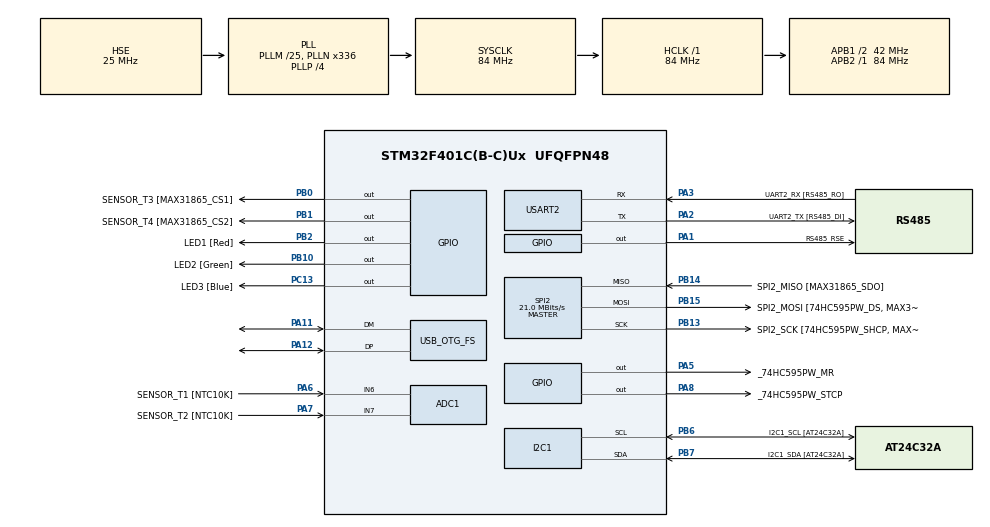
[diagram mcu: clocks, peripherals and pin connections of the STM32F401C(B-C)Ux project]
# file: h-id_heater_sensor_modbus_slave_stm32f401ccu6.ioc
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ADC1.Channel-0\#ChannelRegularConversion=ADC_CHANNEL_VREFINT
ADC1.Channel-5\#ChannelRegularConversion=ADC_CHANNEL_TEMPSENSOR
ADC1.Channel-6\#ChannelRegularConversion=ADC_CHANNEL_6
ADC1.Channel-7\#ChannelRegularConversion=ADC_CHANNEL_7
ADC1.ContinuousConvMode=ENABLE
ADC1.DMAContinuousRequests=ENABLE
ADC1.EOCSelection=ADC_EOC_SEQ_CONV
ADC1.InjNumberOfConversion=0
ADC1.NbrOfConversion=4
ADC1.NbrOfConversionFlag=1
ADC1.Rank-0\#ChannelRegularConversion=1
ADC1.Rank-5\#ChannelRegularConversion=2
ADC1.Rank-6\#ChannelRegularConversion=3
ADC1.Rank-7\#ChannelRegularConversion=4
ADC1.SamplingTime-0\#ChannelRegularConversion=ADC_SAMPLETIME_480CYCLES
ADC1.SamplingTime-5\#ChannelRegularConversion=ADC_SAMPLETIME_480CYCLES
ADC1.SamplingTime-6\#ChannelRegularConversion=ADC_SAMPLETIME_480CYCLES
ADC1.SamplingTime-7\#ChannelRegularConversion=ADC_SAMPLETIME_480CYCLES
ADC1.ScanConvMode=ENABLE
ADC1.master=1
Dma.ADC1.0.Direction=DMA_PERIPH_TO_MEMORY
Dma.ADC1.0.FIFOMode=DMA_FIFOMODE_ENABLE
Dma.ADC1.0.FIFOThreshold=DMA_FIFO_THRESHOLD_FULL
Dma.ADC1.0.Instance=DMA2_Stream0
Dma.ADC1.0.MemBurst=DMA_MBURST_SINGLE
Dma.ADC1.0.MemDataAlignment=DMA_MDATAALIGN_HALFWORD
Dma.ADC1.0.MemInc=DMA_MINC_ENABLE
Dma.ADC1.0.Mode=DMA_CIRCULAR
Dma.ADC1.0.PeriphBurst=DMA_PBURST_SINGLE
Dma.ADC1.0.PeriphDataAlignment=DMA_PDATAALIGN_HALFWORD
Dma.ADC1.0.PeriphInc=DMA_PINC_DISABLE
Dma.ADC1.0.Priority=DMA_PRIORITY_LOW
Dma.Request0=ADC1
Dma.Request1=USART2_RX
Dma.Request2=USART2_TX
Dma.USART2_RX.1.Direction=DMA_PERIPH_TO_MEMORY
Dma.USART2_RX.1.FIFOMode=DMA_FIFOMODE_DISABLE
Dma.USART2_RX.1.Instance=DMA1_Stream5
Dma.USART2_RX.1.MemDataAlignment=DMA_MDATAALIGN_BYTE
Dma.USART2_RX.1.MemInc=DMA_MINC_ENABLE
Dma.USART2_RX.1.Mode=DMA_NORMAL
Dma.USART2_RX.1.PeriphDataAlignment=DMA_PDATAALIGN_BYTE
Dma.USART2_RX.1.PeriphInc=DMA_PINC_DISABLE
Dma.USART2_RX.1.Priority=DMA_PRIORITY_LOW
Dma.USART2_TX.2.Direction=DMA_MEMORY_TO_PERIPH
Dma.USART2_TX.2.FIFOMode=DMA_FIFOMODE_DISABLE
Dma.USART2_TX.2.Instance=DMA1_Stream6
Dma.USART2_TX.2.MemDataAlignment=DMA_MDATAALIGN_BYTE
Dma.USART2_TX.2.MemInc=DMA_MINC_ENABLE
Dma.USART2_TX.2.Mode=DMA_NORMAL
Dma.USART2_TX.2.PeriphDataAlignment=DMA_PDATAALIGN_BYTE
Dma.USART2_TX.2.PeriphInc=DMA_PINC_DISABLE
Dma.USART2_TX.2.Priority=DMA_PRIORITY_LOW
FREERTOS.Tasks01=defaultTask,24,512,StartDefaultTask,Default,NULL,Dynamic,NULL,NULL;myTaskUSB,8,128,StartTaskUSB,Default,NULL,Dynamic,NULL,NULL;myTaskRS485,8,128,StartTaskRS485,Default,NULL,Dynamic,NULL,NULL
FREERTOS.configENABLE_FPU=1
FREERTOS.configTOTAL_HEAP_SIZE=65535
FREERTOS.configUSE_NEWLIB_REENTRANT=1
FREERTOS.copyHeapFile=0
Mcu.Family=STM32F4
Mcu.Name=STM32F401C(B-C)Ux
Mcu.Package=UFQFPN48
NVIC.ADC_IRQn=true\:5\:0\:false\:false\:true\:true\:true\:true\:true
NVIC.DMA1_Stream5_IRQn=true\:5\:0\:false\:false\:true\:true\:false\:true\:true
NVIC.DMA1_Stream6_IRQn=true\:5\:0\:false\:false\:true\:true\:false\:true\:true
NVIC.DMA2_Stream0_IRQn=true\:5\:0\:false\:false\:true\:true\:false\:true\:true
NVIC.OTG_FS_IRQn=true\:5\:0\:false\:false\:true\:true\:false\:true\:true
NVIC.PriorityGroup=NVIC_PRIORITYGROUP_4
NVIC.TIM1_UP_TIM10_IRQn=true\:15\:0\:false\:false\:true\:false\:false\:true\:true
NVIC.TimeBase=TIM1_UP_TIM10_IRQn
NVIC.TimeBaseIP=TIM1
NVIC.USART2_IRQn=true\:5\:0\:false\:false\:true\:true\:true\:true\:true
PA1.GPIO_Label=RS485_RSE
PA1.GPIO_Speed=GPIO_SPEED_FREQ_HIGH
PA1.Signal=GPIO_Output
PA11.Mode=Device_Only
PA11.Signal=USB_OTG_FS_DM
PA12.Mode=Device_Only
PA12.Signal=USB_OTG_FS_DP
PA13.GPIO_Label=SWDIO
PA13.Mode=Serial_Wire
PA13.Signal=SYS_JTMS-SWDIO
PA14.GPIO_Label=SWCLK
PA14.Mode=Serial_Wire
PA14.Signal=SYS_JTCK-SWCLK
PA2.GPIO_Label=UART2_TX [RS485_DI]
PA2.Mode=Asynchronous
PA2.Signal=USART2_TX
PA3.GPIO_Label=UART2_RX [RS485_RO]
PA3.Mode=Asynchronous
PA3.Signal=USART2_RX
PA5.GPIO_Label=_74HC595PW_MR
PA5.GPIO_Speed=GPIO_SPEED_FREQ_LOW
PA5.PinState=GPIO_PIN_SET
PA5.Signal=GPIO_Output
PA6.GPIO_Label=SENSOR_T1 [NTC10K]
PA6.Signal=ADCx_IN6
PA7.GPIO_Label=SENSOR_T2 [NTC10K]
PA7.Signal=ADCx_IN7
PA8.GPIO_Label=_74HC595PW_STCP
PA8.GPIO_Speed=GPIO_SPEED_FREQ_HIGH
PA8.Signal=GPIO_Output
PB0.GPIO_Label=SENSOR_T3 [MAX31865_CS1]
PB0.GPIO_Speed=GPIO_SPEED_FREQ_HIGH
PB0.Signal=GPIO_Output
PB1.GPIO_Label=SENSOR_T4 [MAX31865_CS2]
PB1.GPIO_Speed=GPIO_SPEED_FREQ_HIGH
PB1.Signal=GPIO_Output
PB10.GPIO_Label=LED2 [Green]
PB10.Signal=GPIO_Output
PB13.GPIO_Label=SPI2_SCK [74HC595PW_SHCP, MAX31865_SCLK]
PB13.Mode=Full_Duplex_Master
PB13.Signal=SPI2_SCK
PB14.GPIO_Label=SPI2_MISO [MAX31865_SDO]
PB14.Mode=Full_Duplex_Master
PB14.Signal=SPI2_MISO
PB15.GPIO_Label=SPI2_MOSI [74HC595PW_DS, MAX31865_SDI]
PB15.Mode=Full_Duplex_Master
PB15.Signal=SPI2_MOSI
PB2.GPIO_Label=LED1 [Red]
PB2.Signal=GPIO_Output
PB6.GPIO_Label=I2C1_SCL [AT24C32A]
PB6.GPIO_Pu=GPIO_PULLUP
PB6.Mode=I2C
PB6.Signal=I2C1_SCL
PB7.GPIO_Label=I2C1_SDA [AT24C32A]
PB7.GPIO_Pu=GPIO_PULLUP
PB7.Mode=I2C
PB7.Signal=I2C1_SDA
PC13-ANTI_TAMP.GPIO_Label=LED3 [Blue]
PC13-ANTI_TAMP.Signal=GPIO_Output
PC14-OSC32_IN.Mode=LSE-External-Oscillator
PC14-OSC32_IN.Signal=RCC_OSC32_IN
PC15-OSC32_OUT.Mode=LSE-External-Oscillator
PC15-OSC32_OUT.Signal=RCC_OSC32_OUT
PH0\ -\ OSC_IN.Mode=HSE-External-Oscillator
PH0\ -\ OSC_IN.Signal=RCC_OSC_IN
PH1\ -\ OSC_OUT.Mode=HSE-External-Oscillator
PH1\ -\ OSC_OUT.Signal=RCC_OSC_OUT
ProjectManager.HeapSize=0x300
ProjectManager.StackSize=0x500
ProjectManager.TargetToolchain=SW4STM32
RCC.48MHZClocksFreq_Value=48000000
RCC.AHBFreq_Value=84000000
RCC.APB1CLKDivider=RCC_HCLK_DIV2
RCC.APB1Freq_Value=42000000
RCC.APB1TimFreq_Value=84000000
RCC.APB2Freq_Value=84000000
RCC.APB2TimFreq_Value=84000000
RCC.CortexFreq_Value=84000000
RCC.HCLKFreq_Value=84000000
RCC.HSE_VALUE=25000000
RCC.HSI_VALUE=16000000
RCC.PLLM=25
RCC.PLLN=336
RCC.PLLP=RCC_PLLP_DIV4
RCC.PLLQ=7
RCC.RCC_RTC_Clock_Source=RCC_RTCCLKSOURCE_LSE
RCC.RCC_RTC_Clock_SourceVirtual=RCC_RTCCLKSOURCE_LSE
RCC.SYSCLKFreq_VALUE=84000000
RCC.SYSCLKSource=RCC_SYSCLKSOURCE_PLLCLK
RCC.VCOOutputFreq_Value=336000000
SH.ADCx_IN6.0=ADC1_IN6,IN6
SH.ADCx_IN7.0=ADC1_IN7,IN7
SPI2.BaudRatePrescaler=SPI_BAUDRATEPRESCALER_2
SPI2.CalculateBaudRate=21.0 MBits/s
SPI2.Direction=SPI_DIRECTION_2LINES
SPI2.Mode=SPI_MODE_MASTER
SPI2.VirtualType=VM_MASTER
USART2.VirtualMode=VM_ASYNC
USB_DEVICE.APP_RX_DATA_SIZE=256
USB_DEVICE.APP_TX_DATA_SIZE=256
USB_DEVICE.CLASS_NAME_FS=CDC
USB_DEVICE.VirtualMode=Cdc
USB_DEVICE.VirtualModeFS=Cdc_FS
USB_OTG_FS.VirtualMode=Device_Only
VP_ADC1_TempSens_Input.Mode=IN-TempSens
VP_ADC1_Vref_Input.Mode=IN-Vrefint
VP_FREERTOS_VS_CMSIS_V2.Mode=CMSIS_V2
VP_RTC_VS_RTC_Activate.Mode=RTC_Enabled
VP_SYS_VS_tim1.Mode=TIM1
VP_USB_DEVICE_VS_USB_DEVICE_CDC_FS.Mode=CDC_FS
board=custom

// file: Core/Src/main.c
/* USER CODE BEGIN Header */
/**
  ******************************************************************************
  * @file           : main.c
  * @brief          : Main program body
  ******************************************************************************
  * @attention
  *
  * Copyright (c) 2022 STMicroelectronics.
  * All rights reserved.
  *
  * This software is licensed under terms that can be found in the LICENSE file
  * in the root directory of this software component.
  * If no LICENSE file comes with this software, it is provided AS-IS.
  *
  ******************************************************************************
  */
/* USER CODE END Header */
#include "main.h"
#include "cmsis_os.h"
#include "usb_device.h"

/* USER CODE BEGIN Includes */
#include "semphr.h"
#include "Modbus.h"
#include <math.h>
#include <string.h>
#include <stdlib.h>
#include <stdint.h>
#include "heater_modbus.h"
#include <AT24Cxx/AT24Cxx_stm32_hal.h>
#include <max31865/MAX31865.h>

/* USER CODE END Includes */

/* USER CODE BEGIN PTD */

#define HID_INTERNAL_SENSOR_TBL(R,X)\
	/*    NAME    TYPE             N   I   TITLE              			*/ \
	R(X	, vref	, voltage 		,  0 , 1 , "Опорное напряжение"			)\
	R(X	, vbat	, voltage 		,  1 , 1 , "Напряжение батареи часов"	)\
	R(X	, tcpu	, temperature 	,  0 , 1 , "Температура CPU"			)\
	R(X	, t1 	, temperature 	,  1 , 0 , "Датчик 1"					)\
	R(X	, t2	, temperature 	,  2 , 0 , "Датчик 2"					)\
	R(X	, t3	, temperature 	,  3 , 0 , "Датчик 3"					)\
	R(X	, t4	, temperature 	,  4 , 0 , "Датчик 4"					)\

#define HID_HEATER_DECL_INTERNAL_SENSOR_ID_ENUM(PREFIX, NAME, TYPE, NUMBER, INVISIBLE, TITLE)\
    PREFIX##NAME,

#define HID_HEATER_DECL_INTERNAL_SENSOR_ID_DESC(PREFIX, NAME, TYPE, NUMBER, INVISIBLE, TITLE)\
{ \
	.number = NUMBER, \
	.invisible = INVISIBLE, \
	.sensor_type = sensor_type_##TYPE \
},

#define HID_HEATER_DECL_SENSOR_TYPE_DESC(PREFIX, INIT, SYMBOL, NAME, TITLE, DIMENSION)\
{ \
	.type = sensor_type_##NAME, \
	.symbol = #SYMBOL, \
	.name = #NAME, \
	.title = TITLE "", \
	.dimension = DIMENSION "" \
},

#define MY_MIN(A,B) ((A) < (B)? (A) : (B))
#define MY_MAX(A,B) ((A) > (B)? (A) : (B))
#define MY_CLAMP(Vmin,V,Vmax) (MY_MAX((Vmin), MY_MIN((V),(Vmax))))

enum InternalSensorID
{
	HID_INTERNAL_SENSOR_TBL(HID_HEATER_DECL_INTERNAL_SENSOR_ID_ENUM, isid_)
	max_num_of_internal_sensors,
	length_of_ctl_reg_internal_sensors = (max_num_of_internal_sensors + 15)/16
};

enum InternalRelayID
{
	max_num_of_internal_relays = 8,
	length_of_ctl_reg_internal_relays = (max_num_of_internal_relays + 15)/16
};

enum HeaterSystemConfigConstatnts
{
	hscc_short_io_addr = 16,
	hscc_short_io_version = 1,
	hscc_short_io_length = 9,
	hscc_long_io_version = 1,
	hscc_long_io_length = 2 + MAX_BUFFER/2,
	hscc_software_type = hsst_sensor_temperature,
	hscc_config_marker = 0xEBADF00Dul,
	hscc_config_version = 1ul
};

/// Структура заголовка паняти конфигурации устройства, хранящаяся в EEPROM
typedef struct ConfigMemoryHeader
{
	uint32_t marker;
	uint16_t version;
	uint16_t length;
	uint8_t software_type;
	uint8_t rs485_id;
	uint16_t header_crc;
} ConfigMemory;

enum HeaterSystemEepromMemory
{
	hsem_reserved_0 = 0,			// u8[32]
	hsem_config_marker = 32, 		// u32
	hsem_config_version = 36, 		// u16
	hsem_config_length = 38, 		// u16
	hsem_config_software_type = 40, // u8
	hsem_config_rs485_id = 41,		// u8
	hsem_config_header_crc = 42,	// u16
	hsem_device_memory = 44 		// u8[ sizeof(DeviceMemoryModbus) ]
};

enum HeaterSystemErrorEnum
{
	hsee_ok,
	hsee_eeprom_load_config_error_bad_marker,
	hsee_eeprom_load_config_error_bad_software_type,
	hsee_eeprom_load_config_error_bad_version,
	hsee_eeprom_load_config_error_bad_length,
	hsee_eeprom_load_config_error_bad_header_crc,
};

/// Память доступная для внешнего управления устройством
typedef struct DeviceMemoryModbus
{
	/// Регистры состояния внутренних реле
	uint16_t reserved_relay_out[16];

	/// Начало порта обмена короткими сообщениями
	/// (смещение строго = 16 для любого устройства)
	uint16_t short_response;
	uint16_t short_request;
	uint16_t short_data[hscc_short_io_length];

	/// Наличие данных от внутренних датчиков
	uint16_t int_sens_status[length_of_ctl_reg_internal_sensors];

	/// Данные внутренних датчиков
	uint16_t int_sens_value[max_num_of_internal_sensors];

	/// Регистр управления устройством
	DeviceControlRegister_SensorTemperature dev_ctl;

	/// Начало порта обмена длинными сообщениями
	uint16_t long_response;
	uint16_t long_request;
	uint16_t long_data[hscc_long_io_length];

} DeviceMemoryModbus;

enum Constants
{
	DeviceMemoryModbusSize = sizeof(DeviceMemoryModbus),
	DeviceMemoryModbusLength = DeviceMemoryModbusSize/2,
};

/* USER CODE END PTD */

/* USER CODE BEGIN PD */
#define TEMP_REFRESH_PERIOD   1000    /* Internal temperature refresh period */
#define MAX_CONVERTED_VALUE   4095    /* Max converted value */
#define AMBIENT_TEMP            25    /* Ambient Temperature */
#define VSENS_AT_AMBIENT_TEMP  760    /* VSENSE value (mv) at ambient temperature */
#define AVG_SLOPE               25    /* Avg_Solpe multiply by 10 */
#define VREF                  3300
#define JULIAN_DATE_BASE     2440588   // Unix epoch time in Julian calendar (UnixTime = 00:00:00 01.01.1970 => JDN = 2440588)

enum ADC_Constants
{
	adc_num_channels = 4,
	adc_num_samples = 64
};

enum MAX31865_Constants
{
	max31865_num_channels = 2,
};

static const float s_pt1000_r0 = 1000.0f;
static const float s_pt1000_a = 3.9083e-3f;
static const float s_pt1000_b = -5.775e-7f;
//static const float s_pt1000_c = -4.183e-12f;

static const float s_termo_zero_c = -273.15f;
static const float s_ntc10k_a = 1.111e-3f;
static const float s_ntc10k_b = 237.987e-6f;
static const float s_ntc10k_c = 65.468e-9f;

/* USER CODE END PD */

 ADC_HandleTypeDef hadc1;
DMA_HandleTypeDef hdma_adc1;

I2C_HandleTypeDef hi2c1;

RTC_HandleTypeDef hrtc;

SPI_HandleTypeDef hspi2;

UART_HandleTypeDef huart2;
DMA_HandleTypeDef hdma_usart2_rx;
DMA_HandleTypeDef hdma_usart2_tx;

/* Definitions for defaultTask */
osThreadId_t defaultTaskHandle;
const osThreadAttr_t defaultTask_attributes = {
  .name = "defaultTask",
  .stack_size = 512 * 4,
  .priority = (osPriority_t) osPriorityNormal,
};
/* Definitions for myTaskUSB */
osThreadId_t myTaskUSBHandle;
const osThreadAttr_t myTaskUSB_attributes = {
  .name = "myTaskUSB",
  .stack_size = 128 * 4,
  .priority = (osPriority_t) osPriorityLow,
};
/* Definitions for myTaskRS485 */
osThreadId_t myTaskRS485Handle;
const osThreadAttr_t myTaskRS485_attributes = {
  .name = "myTaskRS485",
  .stack_size = 128 * 4,
  .priority = (osPriority_t) osPriorityLow,
};
/* USER CODE BEGIN PV */
volatile modbusHandler_t g_modbus_usb_cdc;
volatile modbusHandler_t g_modbus_rs485;
volatile DeviceMemoryModbus g_modbus_mem = { 0 };

volatile uint16_t g_adc_values[adc_num_channels] = { 0 };
volatile uint16_t g_adc_avg_values[adc_num_channels] = { 0 };
volatile uint16_t g_adc_sko_values[adc_num_channels] = { 0 };
volatile uint16_t g_adc_dma_buffer[adc_num_channels] = { 0 };
volatile uint16_t g_adc_samples[adc_num_samples][adc_num_channels] = { 0 };
volatile uint16_t g_adc_num_samples = 0;
volatile uint16_t g_adc_sample_pos = 0;
volatile uint8_t g_adc_update = 0;
AT24Cxx_devices_t g_eeprom;
ConfigMemory g_cfg = { 0 };
Max31865_t g_max31865[max31865_num_channels] = { 0 };

//static float g_r1[4] = {10660, 10000, 10380, 9715};
static const float g_r1[4] = {10660, 10000, 10660, 10000};

static const SensorTypeDesc s_sensor_type_desc[sensor_type_num_of_types] = {
	HID_HEATER_SENSOR_TYPE_TBL(HID_HEATER_DECL_SENSOR_TYPE_DESC, )
};

static const SensorDescription s_internal_sensors_desc[max_num_of_internal_sensors] = {
	HID_INTERNAL_SENSOR_TBL(HID_HEATER_DECL_INTERNAL_SENSOR_ID_DESC, isid_)
};

/* USER CODE END PV */

void SystemClock_Config(void);
static void MX_GPIO_Init(void);
static void MX_DMA_Init(void);
static void MX_ADC1_Init(void);
static void MX_I2C1_Init(void);
static void MX_SPI2_Init(void);
static void MX_USART2_UART_Init(void);
static void MX_RTC_Init(void);
void StartDefaultTask(void *argument);
void StartTaskUSB(void *argument);
void StartTaskRS485(void *argument);

/* USER CODE BEGIN PFP */
static float calc_temperature_ntc10k(float r);
static float calc_temperature_pt1000(float r);
static bool testU16Bit(volatile uint16_t* mem, uint16_t bit_idx);
static void setU16Bit(volatile uint16_t* mem, uint16_t bit_idx, bool value);
static void handle_short_request(void);
static void handle_long_request(void);
static void handle_requests(void);
static void write_u16_masked(uint16_t reg, uint16_t data, uint16_t mask);
static uint16_t eeprom_factory_defaults(void);
static uint16_t eeprom_load_config(void);
static uint16_t eeprom_save_config(void);
uint32_t RTC_ToEpoch(RTC_TimeTypeDef *time, RTC_DateTypeDef *date);
void RTC_FromEpoch(uint32_t epoch, RTC_TimeTypeDef *time, RTC_DateTypeDef *date);
void RTC_AdjustTimeZone(RTC_TimeTypeDef *time, RTC_DateTypeDef *date, int8_t offset);

/* USER CODE END PFP */

int main(void)
{

  /* MCU Configuration--------------------------------------------------------*/

  /* Reset of all peripherals, Initializes the Flash interface and the Systick. */
  HAL_Init();

  /* Configure the system clock */
  SystemClock_Config();

  /* Initialize all configured peripherals */
  MX_GPIO_Init();
  MX_DMA_Init();
  MX_ADC1_Init();
  MX_I2C1_Init();
  MX_SPI2_Init();
  MX_USART2_UART_Init();
  MX_RTC_Init();
  /* USER CODE BEGIN 2 */

  AT24Cxx_init(&g_eeprom, 0, &hi2c1); // AT24Cxx_SET_ADDR

  if( eeprom_load_config() )
	  eeprom_factory_defaults();

  Max31865_init(&g_max31865[0], &hspi2, SENSOR_T3_GPIO_Port, SENSOR_T3_Pin, 2, 0);
  Max31865_init(&g_max31865[1], &hspi2, SENSOR_T4_GPIO_Port, SENSOR_T4_Pin, 2, 0);

  HAL_ADC_Start_DMA(&hadc1, (uint32_t*)g_adc_dma_buffer, adc_num_channels);

  /* Modbus Slave initialization */
  g_modbus_usb_cdc.uModbusType = MB_SLAVE;
  //g_modbus_usb_cdc.uModbusType = MB_MASTER;
  //g_modbus_usb_cdc.xTypeHW = USART_HW_DMA;
  g_modbus_usb_cdc.xTypeHW = USB_CDC_HW; // // USB-CDC
  //g_modbus_usb_cdc.port = &huart1; // This is the UART port connected to STLINK
  g_modbus_usb_cdc.port = NULL; // USB-CDC
  g_modbus_usb_cdc.u8id = 1; //slave ID, always different than zero
  //g_modbus_usb_cdc.u8id = 0; //slave ID for master always 0
  g_modbus_usb_cdc.u16timeOut = 1000;
  g_modbus_usb_cdc.EN_Port = NULL; // No RS485
  //g_modbus_usb_cdc.EN_Port = LD2_GPIO_Port; // RS485 Enable
  //g_modbus_usb_cdc.EN_Pin = LD2_Pin; // RS485 Enable
  g_modbus_usb_cdc.u16regs = (uint16_t*) &g_modbus_mem;
  g_modbus_usb_cdc.u16regsize= sizeof(g_modbus_mem)/sizeof(uint16_t);
   //Initialize Modbus library
  ModbusInit((modbusHandler_t *)&g_modbus_usb_cdc);
  //Start capturing traffic on serial Port
  //ModbusStart((modbusHandler_t *)&g_modbus_usb_cdc);
  ModbusStartCDC((modbusHandler_t *)&g_modbus_usb_cdc);

  /* Modbus Slave initialization */
  g_modbus_rs485.uModbusType = MB_SLAVE;
  //g_modbus_rs485.uModbusType = MB_MASTER;
  g_modbus_rs485.xTypeHW = USART_HW_DMA;
  g_modbus_rs485.port = &huart2; // This is the UART port connected to RS485
  g_modbus_rs485.u8id = g_cfg.rs485_id; //slave ID, always different than zero
  //g_modbus_rs485.u8id = 0; //slave ID for master always 0
  g_modbus_rs485.u16timeOut = 1000;
  //g_modbus_rs485.EN_Port = NULL; // No RS485
  g_modbus_rs485.EN_Port = RS485_RSE_GPIO_Port; // RS485 Enable
  g_modbus_rs485.EN_Pin = RS485_RSE_Pin; // RS485 Enable
  g_modbus_rs485.u16regs = (uint16_t*) &g_modbus_mem;
  g_modbus_rs485.u16regsize= sizeof(g_modbus_mem)/sizeof(uint16_t);
   //Initialize Modbus library
  ModbusInit((modbusHandler_t*)&g_modbus_rs485);
  //Start capturing traffic on serial Port
  ModbusStart((modbusHandler_t*)&g_modbus_rs485);

  /* USER CODE END 2 */

  /* Init scheduler */
  osKernelInitialize();

  /* Create the thread(s) */
  /* creation of defaultTask */
  defaultTaskHandle = osThreadNew(StartDefaultTask, NULL, &defaultTask_attributes);

  /* creation of myTaskUSB */
  myTaskUSBHandle = osThreadNew(StartTaskUSB, NULL, &myTaskUSB_attributes);

  /* creation of myTaskRS485 */
  myTaskRS485Handle = osThreadNew(StartTaskRS485, NULL, &myTaskRS485_attributes);

  /* Start scheduler */
  osKernelStart();

  /* We should never get here as control is now taken by the scheduler */
  /* Infinite loop */
  while (1)
  {

  }
}

void SystemClock_Config(void)
{
  RCC_OscInitTypeDef RCC_OscInitStruct = {0};
  RCC_ClkInitTypeDef RCC_ClkInitStruct = {0};

  /** Configure the main internal regulator output voltage
  */
  __HAL_RCC_PWR_CLK_ENABLE();
  __HAL_PWR_VOLTAGESCALING_CONFIG(PWR_REGULATOR_VOLTAGE_SCALE2);

  /** Initializes the RCC Oscillators according to the specified parameters
  * in the RCC_OscInitTypeDef structure.
  */
  RCC_OscInitStruct.OscillatorType = RCC_OSCILLATORTYPE_HSE|RCC_OSCILLATORTYPE_LSE;
  RCC_OscInitStruct.HSEState = RCC_HSE_ON;
  RCC_OscInitStruct.LSEState = RCC_LSE_ON;
  RCC_OscInitStruct.PLL.PLLState = RCC_PLL_ON;
  RCC_OscInitStruct.PLL.PLLSource = RCC_PLLSOURCE_HSE;
  RCC_OscInitStruct.PLL.PLLM = 25;
  RCC_OscInitStruct.PLL.PLLN = 336;
  RCC_OscInitStruct.PLL.PLLP = RCC_PLLP_DIV4;
  RCC_OscInitStruct.PLL.PLLQ = 7;
  if (HAL_RCC_OscConfig(&RCC_OscInitStruct) != HAL_OK)
  {
    Error_Handler();
  }

  /** Initializes the CPU, AHB and APB buses clocks
  */
  RCC_ClkInitStruct.ClockType = RCC_CLOCKTYPE_HCLK|RCC_CLOCKTYPE_SYSCLK
                              |RCC_CLOCKTYPE_PCLK1|RCC_CLOCKTYPE_PCLK2;
  RCC_ClkInitStruct.SYSCLKSource = RCC_SYSCLKSOURCE_PLLCLK;
  RCC_ClkInitStruct.AHBCLKDivider = RCC_SYSCLK_DIV1;
  RCC_ClkInitStruct.APB1CLKDivider = RCC_HCLK_DIV2;
  RCC_ClkInitStruct.APB2CLKDivider = RCC_HCLK_DIV1;

  if (HAL_RCC_ClockConfig(&RCC_ClkInitStruct, FLASH_LATENCY_2) != HAL_OK)
  {
    Error_Handler();
  }
}

static void MX_ADC1_Init(void)
{

  ADC_ChannelConfTypeDef sConfig = {0};

  /** Configure the global features of the ADC (Clock, Resolution, Data Alignment and number of conversion)
  */
  hadc1.Instance = ADC1;
  hadc1.Init.ClockPrescaler = ADC_CLOCK_SYNC_PCLK_DIV4;
  hadc1.Init.Resolution = ADC_RESOLUTION_12B;
  hadc1.Init.ScanConvMode = ENABLE;
  hadc1.Init.ContinuousConvMode = ENABLE;
  hadc1.Init.DiscontinuousConvMode = DISABLE;
  hadc1.Init.ExternalTrigConvEdge = ADC_EXTERNALTRIGCONVEDGE_NONE;
  hadc1.Init.ExternalTrigConv = ADC_SOFTWARE_START;
  hadc1.Init.DataAlign = ADC_DATAALIGN_RIGHT;
  hadc1.Init.NbrOfConversion = 4;
  hadc1.Init.DMAContinuousRequests = ENABLE;
  hadc1.Init.EOCSelection = ADC_EOC_SEQ_CONV;
  if (HAL_ADC_Init(&hadc1) != HAL_OK)
  {
    Error_Handler();
  }

  /** Configure for the selected ADC regular channel its corresponding rank in the sequencer and its sample time.
  */
  sConfig.Channel = ADC_CHANNEL_VREFINT;
  sConfig.Rank = 1;
  sConfig.SamplingTime = ADC_SAMPLETIME_480CYCLES;
  if (HAL_ADC_ConfigChannel(&hadc1, &sConfig) != HAL_OK)
  {
    Error_Handler();
  }

  /** Configure for the selected ADC regular channel its corresponding rank in the sequencer and its sample time.
  */
  sConfig.Channel = ADC_CHANNEL_TEMPSENSOR;
  sConfig.Rank = 2;
  if (HAL_ADC_ConfigChannel(&hadc1, &sConfig) != HAL_OK)
  {
    Error_Handler();
  }

  /** Configure for the selected ADC regular channel its corresponding rank in the sequencer and its sample time.
  */
  sConfig.Channel = ADC_CHANNEL_6;
  sConfig.Rank = 3;
  if (HAL_ADC_ConfigChannel(&hadc1, &sConfig) != HAL_OK)
  {
    Error_Handler();
  }

  /** Configure for the selected ADC regular channel its corresponding rank in the sequencer and its sample time.
  */
  sConfig.Channel = ADC_CHANNEL_7;
  sConfig.Rank = 4;
  if (HAL_ADC_ConfigChannel(&hadc1, &sConfig) != HAL_OK)
  {
    Error_Handler();
  }

}

static void MX_I2C1_Init(void)
{

  hi2c1.Instance = I2C1;
  hi2c1.Init.ClockSpeed = 100000;
  hi2c1.Init.DutyCycle = I2C_DUTYCYCLE_2;
  hi2c1.Init.OwnAddress1 = 0;
  hi2c1.Init.AddressingMode = I2C_ADDRESSINGMODE_7BIT;
  hi2c1.Init.DualAddressMode = I2C_DUALADDRESS_DISABLE;
  hi2c1.Init.OwnAddress2 = 0;
  hi2c1.Init.GeneralCallMode = I2C_GENERALCALL_DISABLE;
  hi2c1.Init.NoStretchMode = I2C_NOSTRETCH_DISABLE;
  if (HAL_I2C_Init(&hi2c1) != HAL_OK)
  {
    Error_Handler();
  }

}

static void MX_RTC_Init(void)
{

  /** Initialize RTC Only
  */
  hrtc.Instance = RTC;
  hrtc.Init.HourFormat = RTC_HOURFORMAT_24;
  hrtc.Init.AsynchPrediv = 127;
  hrtc.Init.SynchPrediv = 255;
  hrtc.Init.OutPut = RTC_OUTPUT_DISABLE;
  hrtc.Init.OutPutPolarity = RTC_OUTPUT_POLARITY_HIGH;
  hrtc.Init.OutPutType = RTC_OUTPUT_TYPE_OPENDRAIN;
  if (HAL_RTC_Init(&hrtc) != HAL_OK)
  {
    Error_Handler();
  }

}

static void MX_SPI2_Init(void)
{

  /* SPI2 parameter configuration*/
  hspi2.Instance = SPI2;
  hspi2.Init.Mode = SPI_MODE_MASTER;
  hspi2.Init.Direction = SPI_DIRECTION_2LINES;
  hspi2.Init.DataSize = SPI_DATASIZE_8BIT;
  hspi2.Init.CLKPolarity = SPI_POLARITY_LOW;
  hspi2.Init.CLKPhase = SPI_PHASE_1EDGE;
  hspi2.Init.NSS = SPI_NSS_SOFT;
  hspi2.Init.BaudRatePrescaler = SPI_BAUDRATEPRESCALER_2;
  hspi2.Init.FirstBit = SPI_FIRSTBIT_MSB;
  hspi2.Init.TIMode = SPI_TIMODE_DISABLE;
  hspi2.Init.CRCCalculation = SPI_CRCCALCULATION_DISABLE;
  hspi2.Init.CRCPolynomial = 10;
  if (HAL_SPI_Init(&hspi2) != HAL_OK)
  {
    Error_Handler();
  }

}

static void MX_USART2_UART_Init(void)
{

  huart2.Instance = USART2;
  huart2.Init.BaudRate = 115200;
  huart2.Init.WordLength = UART_WORDLENGTH_8B;
  huart2.Init.StopBits = UART_STOPBITS_1;
  huart2.Init.Parity = UART_PARITY_NONE;
  huart2.Init.Mode = UART_MODE_TX_RX;
  huart2.Init.HwFlowCtl = UART_HWCONTROL_NONE;
  huart2.Init.OverSampling = UART_OVERSAMPLING_16;
  if (HAL_UART_Init(&huart2) != HAL_OK)
  {
    Error_Handler();
  }

}

static void MX_DMA_Init(void)
{

  /* DMA controller clock enable */
  __HAL_RCC_DMA2_CLK_ENABLE();
  __HAL_RCC_DMA1_CLK_ENABLE();

  /* DMA interrupt init */
  /* DMA1_Stream5_IRQn interrupt configuration */
  HAL_NVIC_SetPriority(DMA1_Stream5_IRQn, 5, 0);
  HAL_NVIC_EnableIRQ(DMA1_Stream5_IRQn);
  /* DMA1_Stream6_IRQn interrupt configuration */
  HAL_NVIC_SetPriority(DMA1_Stream6_IRQn, 5, 0);
  HAL_NVIC_EnableIRQ(DMA1_Stream6_IRQn);
  /* DMA2_Stream0_IRQn interrupt configuration */
  HAL_NVIC_SetPriority(DMA2_Stream0_IRQn, 5, 0);
  HAL_NVIC_EnableIRQ(DMA2_Stream0_IRQn);

}

static void MX_GPIO_Init(void)
{
  GPIO_InitTypeDef GPIO_InitStruct = {0};

  /* GPIO Ports Clock Enable */
  __HAL_RCC_GPIOC_CLK_ENABLE();
  __HAL_RCC_GPIOH_CLK_ENABLE();
  __HAL_RCC_GPIOA_CLK_ENABLE();
  __HAL_RCC_GPIOB_CLK_ENABLE();

  /*Configure GPIO pin Output Level */
  HAL_GPIO_WritePin(LED3_GPIO_Port, LED3_Pin, GPIO_PIN_RESET);

  /*Configure GPIO pin Output Level */
  HAL_GPIO_WritePin(GPIOA, RS485_RSE_Pin|_74HC595PW_STCP_Pin, GPIO_PIN_RESET);

  /*Configure GPIO pin Output Level */
  HAL_GPIO_WritePin(_74HC595PW_MR_GPIO_Port, _74HC595PW_MR_Pin, GPIO_PIN_SET);

  /*Configure GPIO pin Output Level */
  HAL_GPIO_WritePin(GPIOB, SENSOR_T3_Pin|SENSOR_T4_Pin|LED1_Pin|LED2_Pin, GPIO_PIN_RESET);

  /*Configure GPIO pin : LED3_Pin */
  GPIO_InitStruct.Pin = LED3_Pin;
  GPIO_InitStruct.Mode = GPIO_MODE_OUTPUT_PP;
  GPIO_InitStruct.Pull = GPIO_NOPULL;
  GPIO_InitStruct.Speed = GPIO_SPEED_FREQ_LOW;
  HAL_GPIO_Init(LED3_GPIO_Port, &GPIO_InitStruct);

  /*Configure GPIO pins : RS485_RSE_Pin _74HC595PW_STCP_Pin */
  GPIO_InitStruct.Pin = RS485_RSE_Pin|_74HC595PW_STCP_Pin;
  GPIO_InitStruct.Mode = GPIO_MODE_OUTPUT_PP;
  GPIO_InitStruct.Pull = GPIO_NOPULL;
  GPIO_InitStruct.Speed = GPIO_SPEED_FREQ_HIGH;
  HAL_GPIO_Init(GPIOA, &GPIO_InitStruct);

  /*Configure GPIO pin : _74HC595PW_MR_Pin */
  GPIO_InitStruct.Pin = _74HC595PW_MR_Pin;
  GPIO_InitStruct.Mode = GPIO_MODE_OUTPUT_PP;
  GPIO_InitStruct.Pull = GPIO_NOPULL;
  GPIO_InitStruct.Speed = GPIO_SPEED_FREQ_LOW;
  HAL_GPIO_Init(_74HC595PW_MR_GPIO_Port, &GPIO_InitStruct);

  /*Configure GPIO pins : SENSOR_T3_Pin SENSOR_T4_Pin */
  GPIO_InitStruct.Pin = SENSOR_T3_Pin|SENSOR_T4_Pin;
  GPIO_InitStruct.Mode = GPIO_MODE_OUTPUT_PP;
  GPIO_InitStruct.Pull = GPIO_NOPULL;
  GPIO_InitStruct.Speed = GPIO_SPEED_FREQ_HIGH;
  HAL_GPIO_Init(GPIOB, &GPIO_InitStruct);

  /*Configure GPIO pins : LED1_Pin LED2_Pin */
  GPIO_InitStruct.Pin = LED1_Pin|LED2_Pin;
  GPIO_InitStruct.Mode = GPIO_MODE_OUTPUT_PP;
  GPIO_InitStruct.Pull = GPIO_NOPULL;
  GPIO_InitStruct.Speed = GPIO_SPEED_FREQ_LOW;
  HAL_GPIO_Init(GPIOB, &GPIO_InitStruct);

}

/* USER CODE BEGIN 4 */
void HAL_ADC_ConvCpltCallback(ADC_HandleTypeDef* hadc)
{
	if( g_adc_num_samples < adc_num_samples )
		++g_adc_num_samples;

	memcpy((uint16_t*)g_adc_samples + g_adc_sample_pos * adc_num_channels,
			(uint16_t*)g_adc_dma_buffer,
			adc_num_channels * sizeof(uint16_t));
	++g_adc_sample_pos;

	if( g_adc_sample_pos >= adc_num_samples )
		g_adc_sample_pos = 0;

	g_adc_update = 1;
}

static float calc_temperature_pt1000(float r)
{
	float ret = (-s_pt1000_a + sqrt(s_pt1000_a*s_pt1000_a  - 4*s_pt1000_b*(1 - r/s_pt1000_r0)))/(2*s_pt1000_b);
	return ret;
}

static float calc_temperature_ntc10k(float r)
{
	float lnr = log(r);
	float ret = s_termo_zero_c + 1.0f/(s_ntc10k_a + s_ntc10k_b*lnr + s_ntc10k_c * lnr*lnr*lnr);
	return ret;
}

static bool testU16Bit(volatile uint16_t* mem, uint16_t bit_idx)
{
	return (mem[bit_idx >> 4] >> (bit_idx & 0xf)) & 1;
}

static void setU16Bit(volatile uint16_t* mem, uint16_t bit_idx, bool value)
{
	if( value )
		mem[bit_idx >> 4] |= (1 << (bit_idx & 0xf));

	else
		mem[bit_idx >> 4] &= ~(1 << (bit_idx & 0xf));
}

static void write_u16_masked(uint16_t reg, uint16_t data, uint16_t mask)
{
	uint16_t* dst = ((uint16_t*)&g_modbus_mem) + reg;
	uint16_t r = *dst;
	r &= ~(mask & ~data);
	r |= (mask & data);
	*dst = r;
}

static void handle_short_request()
{
	uint16_t req = g_modbus_mem.short_request;
	g_modbus_mem.short_response = 0;
	g_modbus_mem.short_request = 0;
	volatile uint16_t* nwords = g_modbus_mem.short_data;
	uint16_t nargs = *nwords;
	UnionRegister* ret = (UnionRegister*)(g_modbus_mem.short_data + 1);

	if( nargs >= hscc_short_io_length )
	{
		// ошибка в кол-ве аргументов запроса
		*nwords = 0;
		memset(ret->ur8, 0, (hscc_short_io_length - 1) * 2);
		return;
	}

	switch( req )
	{
	case ssr_get_short_io_version:
		*nwords = 1;
		ret->ur16[0] = hscc_short_io_version;
		break;

	case ssr_get_short_io_length:
		*nwords = 1;
		ret->ur16[0] = hscc_short_io_length;
		break;

	case ssr_get_long_io_version:
		*nwords = 1;
		ret->ur16[0] = hscc_long_io_version;
		break;

	case ssr_get_long_io_length:
		*nwords = 1;
		ret->ur16[0] = hscc_long_io_length;
		break;

	case ssr_get_software_type:
		*nwords = 1;
		ret->ur16[0] = hscc_software_type;
		break;

	case ssr_get_device_memory_modbus_length:
		*nwords = 1;
		ret->ur16[0] = DeviceMemoryModbusLength;
		break;

	case ssr_get_rs485_id:
		*nwords = 1;
		ret->ur16[0] = g_modbus_rs485.u8id;
		break;

	case ssr_set_rs485_id:
	{
		*nwords = 1;
		uint8_t ecode = !g_modbus_rs485.u8id;

		if( g_modbus_rs485.u8id )
			g_modbus_rs485.u8id = ret->ur16[0];

		ret->ur16[0] = ecode;
		break;
	}

	case ssr_get_devid:
		*nwords = 2;
		ret->ur32[0] = HAL_GetDEVID();
		break;

	case ssr_get_revid:
		*nwords = 2;
		ret->ur32[0] = HAL_GetREVID();
		break;

	case ssr_get_uid:
		*nwords = 6;
		ret->ur32[0] = HAL_GetUIDw0();
		ret->ur32[1] = HAL_GetUIDw1();
		ret->ur32[2] = HAL_GetUIDw2();
		break;

	case ssr_eeprom_factory_defaults:
		*nwords = 1;
		ret->ur16[0] = eeprom_factory_defaults();
		break;

	case ssr_eeprom_load_config:
		*nwords = 1;
		ret->ur16[0] = eeprom_load_config();
		break;

	case ssr_eeprom_save_config:
		*nwords = 1;
		ret->ur16[0] = eeprom_save_config();
		break;

	case ssr_get_addr_long_io:
		*nwords = 1;
		ret->ur16[0] = offsetof(DeviceMemoryModbus, long_response) / 2;
		break;

	case ssr_get_addr_dev_ctl:
		*nwords = 1;
		ret->ur16[0] = offsetof(DeviceMemoryModbus, dev_ctl) / 2;
		break;

	case ssr_get_addr_int_sens_status:
		*nwords = 1;
		ret->ur16[0] = offsetof(DeviceMemoryModbus, int_sens_status) / 2;
		break;

	case ssr_get_addr_int_sens_value:
		*nwords = 1;
		ret->ur16[0] = offsetof(DeviceMemoryModbus, int_sens_value) / 2;
		break;

	case ssr_get_max_num_of_internal_sensors:
		*nwords = 1;
		ret->ur16[0] = max_num_of_internal_sensors;
		break;

	case ssr_get_max_num_of_internal_relays:
		*nwords = 1;
		ret->ur16[0] = max_num_of_internal_relays;
		break;

	case ssr_replace_masked_bits:
	{
		*nwords = 0;
		ReplaceMaskedBitsHeader* h = (ReplaceMaskedBitsHeader*) ret->ur16;
		ReplaceMaskedBitsData* d;

		while( nargs >= (sizeof(*h) + sizeof(*d))/2 )
		{
			d = (ReplaceMaskedBitsData*)(h + 1);

			nargs -= sizeof(*h)/2;

			if( h->num * sizeof(*d)/2 > nargs )
				// bug
				break;

			if( h->reg_addr_start >= DeviceMemoryModbusLength )
				// bug
				break;

			if( h->reg_addr_start + h->num > DeviceMemoryModbusLength )
				// bug
				break;

			uint16_t* dst = ((uint16_t*)&g_modbus_mem) + h->reg_addr_start;
			for( int n = h->num; n; --n, ++d, ++dst )
			{
				uint16_t r = *dst;
				r &= ~(d->mask & ~d->data);
				r |= (d->mask & d->data);
				*dst = r;
			}

			h = (ReplaceMaskedBitsHeader*)d;
		}
		break;
	}

	case ssr_rtc0_read_date_time:
	{
		RtcDataTime* r = (RtcDataTime*) ret->ur8;
		*nwords = (sizeof(*r) + 1) / 2;
		RTC_TimeTypeDef t;
		RTC_DateTypeDef d;
		HAL_RTC_GetTime(&hrtc, &t, RTC_FORMAT_BIN);
		HAL_RTC_GetDate(&hrtc, &d, RTC_FORMAT_BIN);
		r->Year = d.Year;
		r->Month = d.Month;
		r->Date = d.Date;
		r->WeekDay = d.WeekDay;
		r->Hours = t.Hours;
		r->Minutes = t.Minutes;
		r->Seconds = t.Seconds;
		r->_1s256 = ( t.SubSeconds << 8 ) / ( 1 + t.SecondFraction );
		break;
	}

	case ssr_rtc0_write_date_time:
	{
		*nwords = 0;
		RtcDataTime* r = (RtcDataTime*) ret->ur8;
		RTC_TimeTypeDef t;
		RTC_DateTypeDef d;
		d.Year = r->Year;
		d.Month = r->Month;
		d.Date = r->Date;
		d.WeekDay = r->WeekDay;
		t.Hours = r->Hours;
		t.Minutes = r->Minutes;
		t.Seconds = r->Seconds + 1;
		uint16_t wait_ms = ( (uint32_t)(256 - r->_1s256) * 1000ul ) >> 8;
		osDelay(wait_ms);
		HAL_RTC_SetTime(&hrtc, &t, RTC_FORMAT_BIN);
		HAL_RTC_SetDate(&hrtc, &d, RTC_FORMAT_BIN);
		break;
	}

	default:
		*nwords = 0;
		memset(ret->ur8, 0, (hscc_short_io_length - 1) * 2);
		return;
	}

	g_modbus_mem.short_response = req;
}

static void handle_long_request()
{
	uint16_t req = g_modbus_mem.long_request;
	g_modbus_mem.long_response = 0;
	g_modbus_mem.long_request = 0;
	volatile uint16_t* nwords = g_modbus_mem.long_data;
	uint16_t nargs = *nwords;

	if( nargs >= hscc_long_io_length )
	{
		// ошибка в кол-ве аргументов запроса
		*nwords = 0;
		return;
	}

	UnionRegister* ret = (UnionRegister*)(g_modbus_mem.long_data + 1);

	switch( req )
	{
	case slr_get_long_io_version:
		*nwords = 1;
		ret->ur16[0] = hscc_long_io_version;
		break;

	case slr_get_long_io_length:
		*nwords = 1;
		ret->ur16[0] = hscc_long_io_length;
		break;

	case slr_call_short_request_list_no_args_ret_1u16:
		for( int i = 0; i < nargs; ++i )
		{
			g_modbus_mem.short_request = ret->ur16[i];
			g_modbus_mem.short_data[0] = 0;
			handle_short_request();
			ret->ur16[i] = g_modbus_mem.short_data[1];
		}
		break;

	case slr_call_short_request_list_args_1u16_ret_1u16:
		for( int i = 0; i < nargs/2; ++i )
		{
			g_modbus_mem.short_request = ret->ur16[2*i];
			g_modbus_mem.short_data[0] = 1;
			g_modbus_mem.short_data[1] = ret->ur16[2*i + 1];
			handle_short_request();
			ret->ur16[2*i] = g_modbus_mem.short_response;
			ret->ur16[2*i + 1] = g_modbus_mem.short_data[1];
		}
		break;

	case slr_get_int_sens_desc:
	{
		memcpy(ret->ur8, s_internal_sensors_desc, sizeof(s_internal_sensors_desc));
		*nwords = sizeof(s_internal_sensors_desc)/2;
		break;
	}

	case slr_replace_masked_bits:
	{
		*nwords = 0;
		ReplaceMaskedBitsHeader* h = (ReplaceMaskedBitsHeader*) ret->ur16;
		ReplaceMaskedBitsData* d;

		while( nargs >= (sizeof(*h) + sizeof(*d))/2 )
		{
			d = (ReplaceMaskedBitsData*)(h + 1);

			nargs -= sizeof(*h)/2;

			if( h->num * sizeof(*d)/2 > nargs )
				// bug
				break;

			if( h->reg_addr_start >= DeviceMemoryModbusLength )
				// bug
				break;

			if( h->reg_addr_start + h->num > DeviceMemoryModbusLength )
				// bug
				break;

			uint16_t* dst = ((uint16_t*)&g_modbus_mem) + h->reg_addr_start;
			for( int n = h->num; n; --n, ++d, ++dst )
			{
				uint16_t r = *dst;
				r &= ~(d->mask & ~d->data);
				r |= (d->mask & d->data);
				*dst = r;
			}

			h = (ReplaceMaskedBitsHeader*)d;
		}
		break;
	}

	default:
		*nwords = 0;
		return;
	}

	g_modbus_mem.long_response = req;
}

static void handle_requests(void)
{
	if( g_modbus_mem.short_request )
		handle_short_request();

	if( g_modbus_mem.long_request )
		handle_long_request();

	if( g_modbus_mem.dev_ctl.debug_int_relay_to_led )
	{
		// Отладочный вывод состояния реле в светодиоды
		g_modbus_mem.dev_ctl.led_red = testU16Bit(g_modbus_mem.reserved_relay_out, 0);
		g_modbus_mem.dev_ctl.led_green = testU16Bit(g_modbus_mem.reserved_relay_out, 1);
		g_modbus_mem.dev_ctl.led_blue = testU16Bit(g_modbus_mem.reserved_relay_out, 2);
		//g_modbus_mem.dev_ctl.led_orange = testU16Bit(g_modbus_mem.reserved_relay_out, 3);
	}
}

static uint16_t eeprom_factory_defaults(void)
{
	memset(&g_cfg, 0, sizeof(g_cfg));
	g_cfg.marker = hscc_config_marker;
	g_cfg.software_type = hscc_software_type;
	g_cfg.version = hscc_config_version;
	g_cfg.length = sizeof(g_cfg) + sizeof(g_modbus_mem);
	g_cfg.rs485_id = 2;
	g_cfg.header_crc = calcCRC((uint8_t*) &g_cfg, sizeof(g_cfg) - 4);

	AT24Cxx_write_byte_buffer(g_eeprom.devices[0], (uint8_t*) &g_cfg, hsem_config_marker, sizeof(g_cfg));

	for(uint16_t i = 0; i < sizeof(g_modbus_mem); ++i)
		AT24Cxx_write_byte(g_eeprom.devices[0], 0, hsem_device_memory + i);

	// перезагружаем устройство
	HAL_NVIC_SystemReset();

	return hsee_ok;
}

static uint16_t eeprom_load_config(void)
{
	AT24Cxx_read_byte_buffer(g_eeprom.devices[0], (uint8_t*) &g_cfg, hsem_config_marker, sizeof(g_cfg));

	if( g_cfg.marker != hscc_config_marker )
		return hsee_eeprom_load_config_error_bad_marker;

	if( g_cfg.software_type != hscc_software_type )
		return hsee_eeprom_load_config_error_bad_software_type;

	if( g_cfg.version/100 != hscc_config_version/100 )
		return hsee_eeprom_load_config_error_bad_version;

	if( g_cfg.length < sizeof(g_cfg) + sizeof(g_modbus_mem) )
		return hsee_eeprom_load_config_error_bad_length;

	uint32_t header_crc = calcCRC((uint8_t*) &g_cfg, sizeof(g_cfg) - 4);;

	if( g_cfg.header_crc != header_crc )
		return hsee_eeprom_load_config_error_bad_header_crc;

	AT24Cxx_read_byte_buffer(g_eeprom.devices[0], (uint8_t*) &g_modbus_mem, hsem_device_memory, sizeof(g_modbus_mem));

	return hsee_ok;
}

static uint16_t eeprom_save_config(void)
{
	memset(&g_cfg, 0, sizeof(g_cfg));
	g_cfg.marker = hscc_config_marker;
	g_cfg.software_type = hscc_software_type;
	g_cfg.version = hscc_config_version;
	g_cfg.length = sizeof(g_cfg) + sizeof(g_modbus_mem);
	g_cfg.header_crc = calcCRC((uint8_t*) &g_cfg, sizeof(g_cfg) - 4);

	AT24Cxx_write_byte_buffer(g_eeprom.devices[0], (uint8_t*) &g_cfg, hsem_config_marker, sizeof(g_cfg));
	AT24Cxx_write_byte_buffer(g_eeprom.devices[0], (uint8_t*) &g_modbus_mem, hsem_device_memory, sizeof(g_modbus_mem));

	return hsee_ok;
}

// Convert Date/Time structures to epoch time
uint32_t RTC_ToEpoch(RTC_TimeTypeDef *time, RTC_DateTypeDef *date)
{
	uint8_t  a;
	uint16_t y;
	uint8_t  m;
	uint32_t JDN;

	// These hardcore math's are taken from http://en.wikipedia.org/wiki/Julian_day

	// Calculate some coefficients
	a = (14 - date->Month) / 12;
	y = (date->Year + 2000) + 4800 - a; // years since 1 March, 4801 BC
	m = date->Month + (12 * a) - 3; // since 1 March, 4801 BC

	// Gregorian calendar date compute
    JDN  = date->Date;
    JDN += (153 * m + 2) / 5;
    JDN += 365 * y;
    JDN += y / 4;
    JDN += -y / 100;
    JDN += y / 400;
    JDN  = JDN - 32045;
    JDN  = JDN - JULIAN_DATE_BASE;    // Calculate from base date
    JDN *= 86400;                     // Days to seconds
    JDN += time->Hours * 3600;    // ... and today seconds
    JDN += time->Minutes * 60;
    JDN += time->Seconds;

	return JDN;
}

// Convert epoch time to Date/Time structures
void RTC_FromEpoch(uint32_t epoch, RTC_TimeTypeDef *time, RTC_DateTypeDef *date)
{
	uint32_t tm;
	uint32_t t1;
	uint32_t a;
	uint32_t b;
	uint32_t c;
	uint32_t d;
	uint32_t e;
	uint32_t m;
	int16_t  year  = 0;
	int16_t  month = 0;
	int16_t  dow   = 0;
	int16_t  mday  = 0;
	int16_t  hour  = 0;
	int16_t  min   = 0;
	int16_t  sec   = 0;
	uint64_t JD    = 0;
	uint64_t JDN   = 0;

	// These hardcore math's are taken from http://en.wikipedia.org/wiki/Julian_day

	JD  = ((epoch + 43200) / (86400 >>1 )) + (2440587 << 1) + 1;
	JDN = JD >> 1;

    tm = epoch; t1 = tm / 60; sec  = tm - (t1 * 60);
    tm = t1;    t1 = tm / 60; min  = tm - (t1 * 60);
    tm = t1;    t1 = tm / 24; hour = tm - (t1 * 24);

    dow   = JDN % 7;
    a     = JDN + 32044;
    b     = ((4 * a) + 3) / 146097;
    c     = a - ((146097 * b) / 4);
    d     = ((4 * c) + 3) / 1461;
    e     = c - ((1461 * d) / 4);
    m     = ((5 * e) + 2) / 153;
    mday  = e - (((153 * m) + 2) / 5) + 1;
    month = m + 3 - (12 * (m / 10));
    year  = (100 * b) + d - 4800 + (m / 10);

    date->Year    = year - 2000;
    date->Month   = month;
    date->Date    = mday;
    date->WeekDay = dow;
    time->Hours   = hour;
    time->Minutes = min;
    time->Seconds = sec;
}

// Adjust time with time zone offset
// input:
//   time - pointer to RTC_Time structure with time to adjust
//   date - pointer to RTC_Date structure with date to adjust
//   offset - hours offset to add or subtract from date/time (hours)
void RTC_AdjustTimeZone(RTC_TimeTypeDef *time, RTC_DateTypeDef *date, int8_t offset)
{
	uint32_t epoch;

	epoch  = RTC_ToEpoch(time,date);
	epoch += offset * 3600;
	RTC_FromEpoch(epoch,time,date);
}

/* USER CODE END 4 */

void StartDefaultTask(void *argument)
{
  /* init code for USB_DEVICE */
  MX_USB_DEVICE_Init();
  /* USER CODE BEGIN 5 */
  /* Infinite loop */
  for(;;)
  {
		uint32_t curr_time = HAL_GetTick();
		if( g_adc_update )
		{
			g_adc_update = 0;
			const int ns = g_adc_num_samples;

			for( int ch = 0; ch < adc_num_channels; ++ch )
			{
				uint32_t avg_prev = g_adc_avg_values[ch];
				uint32_t sko_prev = g_adc_sko_values[ch];
				uint32_t avg = 0;
				float sko = 0;
				uint32_t value = 0;
				int n = 0;
				for( int i = 0; i < ns; ++i )
				{
					uint16_t v = g_adc_samples[i][ch];
					avg += v;
					float d = (float)v - (float)avg_prev;
					sko += d*d;
					if( abs( d ) <= 3*sko_prev )
					{
						value += v;
						++n;
					}
				}
				avg /= ns;
				sko = sqrt(sko);
				sko /= ns;
				sko = ceil(sko);
				g_adc_avg_values[ch] = avg;
				g_adc_sko_values[ch] = sko;

				if( n )
				{
					value <<= 4;
					value /= n;
					g_adc_values[ch] = value;
				}
				taskYIELD();
			}

			float v_ref = (((uint32_t)g_adc_values[0]) * VREF)*0.001f/65535.0f;
			float t_cpu = (((((float)g_adc_values[1]) * VREF)/65535) - VSENS_AT_AMBIENT_TEMP) * 10 / ((float)AVG_SLOPE) + AMBIENT_TEMP;

			// сопротивления термометров
			float r[4];
			for( int i = 0; i < 2 ; ++i )
			{
				float a = (float)(g_adc_values[2+i]) / 65535.0f;
				r[i] = g_r1[i] * a / ( 1.0f - a );
			}

			taskYIELD();

			setU16Bit(g_modbus_mem.int_sens_status, isid_vref, 1);
			g_modbus_mem.int_sens_value[isid_vref] = lround(v_ref*1000);

			setU16Bit(g_modbus_mem.int_sens_status, isid_tcpu, 1);
			g_modbus_mem.int_sens_value[isid_tcpu] = lround(t_cpu*10);

			float t[4];
			for( int i = 0; i < 2; ++i )
			{
				t[i] = calc_temperature_ntc10k(r[i]);
				int idx = isid_t1 + i;
				bool is_ok = g_adc_values[i+2] != 0xffff;
				setU16Bit(g_modbus_mem.int_sens_status, idx, is_ok);

				if( is_ok )
					g_modbus_mem.int_sens_value[idx] = lround(t[i]*10);
			}

			for( int i = 0; i < 2; ++i )
			{
				int idx = isid_t3 + i;
				bool is_ok = Max31865_readTempC(&g_max31865[i], &t[i+2]);
				setU16Bit(g_modbus_mem.int_sens_status, idx, is_ok);

				if( is_ok )
					g_modbus_mem.int_sens_value[idx] = lround(t[i+2]*10);
			}

			taskYIELD();
		}

		HAL_GPIO_WritePin(LED1_GPIO_Port, LED1_Pin, !g_modbus_mem.dev_ctl.led_red);
		HAL_GPIO_WritePin(LED2_GPIO_Port, LED2_Pin, !g_modbus_mem.dev_ctl.led_green);
		HAL_GPIO_WritePin(LED3_GPIO_Port, LED3_Pin, !g_modbus_mem.dev_ctl.led_blue);

		{
			uint8_t b = ~g_modbus_mem.reserved_relay_out[0];
			HAL_SPI_Transmit(&hspi2, &b, 1, 1);
			HAL_GPIO_WritePin(_74HC595PW_STCP_GPIO_Port, _74HC595PW_STCP_Pin, GPIO_PIN_SET);
			HAL_Delay(1);
			HAL_GPIO_WritePin(_74HC595PW_STCP_GPIO_Port, _74HC595PW_STCP_Pin, GPIO_PIN_RESET);
		}

		osDelay(10);
  }
  /* USER CODE END 5 */
}

void StartTaskUSB(void *argument)
{
  /* USER CODE BEGIN StartTaskUSB */
  /* Infinite loop */
  for(;;)
  {
	osDelay(1000000);
  }
  /* USER CODE END StartTaskUSB */
}

void StartTaskRS485(void *argument)
{
  /* USER CODE BEGIN StartTaskRS485 */
  /* Infinite loop */
  for(;;)
  {
//	xSemaphoreTake(g_modbus_rs485.ModBusSphrHandle , portMAX_DELAY);
//	xSemaphoreGive(g_modbus_rs485.ModBusSphrHandle);
	handle_requests();
	osDelay(10);
  }
  /* USER CODE END StartTaskRS485 */
}

void HAL_TIM_PeriodElapsedCallback(TIM_HandleTypeDef *htim)
{
  if (htim->Instance == TIM1) {
    HAL_IncTick();
  }
}

void Error_Handler(void)
{
  __disable_irq();
  while (1)
  {
  }
}
